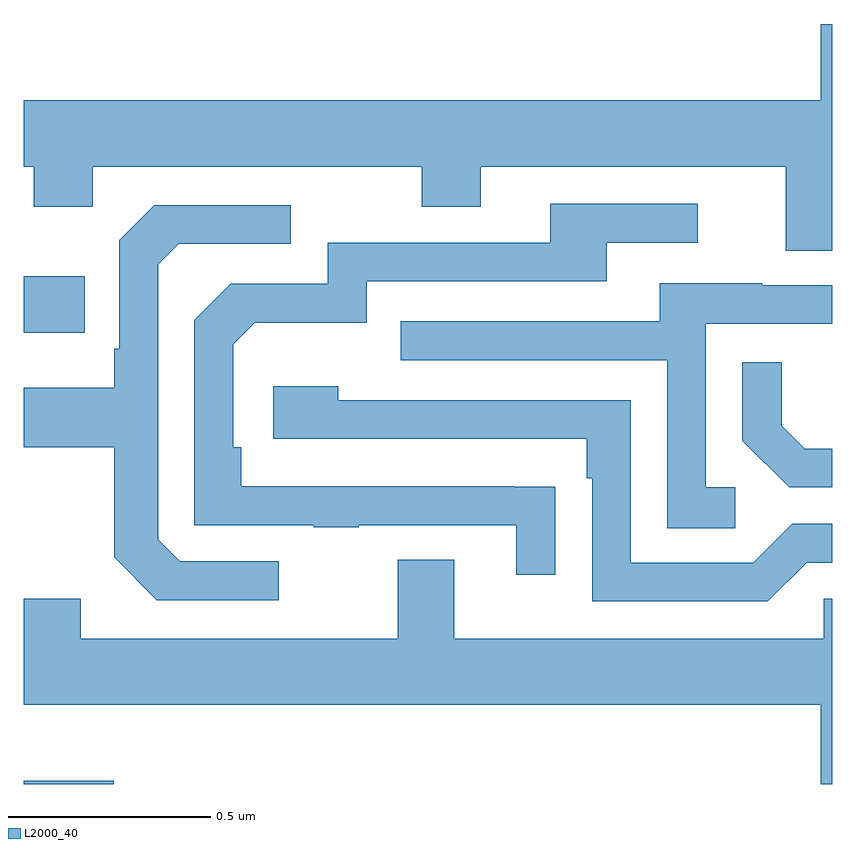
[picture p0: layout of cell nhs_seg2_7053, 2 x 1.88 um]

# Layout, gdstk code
import gdstk
lib = gdstk.Library(unit=1e-6, precision=1e-09)
def R(c, l, rs):  # rectangles x0, y0, x1, y1
    for r in rs: c.add(gdstk.rectangle(r[:2], r[2:], *l))
def P(c, l, *ps):  # polygons
    for p in ps: c.add(gdstk.Polygon(p, *l))
L2000_40 = (2000, 40)

nhs_seg2_7053 = lib.new_cell('nhs_seg2_7053')
R(nhs_seg2_7053, L2000_40, [(199,620.8,199.222,620.808), (199,621.917,199.151,622.057)])
P(nhs_seg2_7053, L2000_40, [(201,622.681),(200.972,622.681),(200.972,622.492),(199,622.492),(199,622.328),(199.024,622.328),(199.024,622.229),(199.17,622.229),(199.17,622.328),(199.984,622.328),(199.984,622.229),(200.131,622.229),(200.131,622.328),(200.885,622.328),(200.885,622.12),(201,622.12)],
  [(200.315,621.536),(200.213,621.536),(200.213,621.537),(199.538,621.537),(199.538,621.634),(199.518,621.634),(199.518,621.888),(199.571,621.941),(199.848,621.941),(199.848,622.044),(200.443,622.044),(200.443,622.14),(200.668,622.14),(200.668,622.236),(200.303,622.236),(200.303,622.14),(199.752,622.14),(199.752,622.038),(199.512,622.038),(199.422,621.948),(199.422,621.441),(199.717,621.441),(199.717,621.436),(199.829,621.436),(199.829,621.441),(200.219,621.441),(200.219,621.318),(200.315,621.318)],
  [(199.63,621.351),(199.386,621.351),(199.332,621.405),(199.332,622.086),(199.383,622.137),(199.66,622.137),(199.66,622.233),(199.323,622.233),(199.236,622.146),(199.236,621.877),(199.224,621.877),(199.224,621.781),(199,621.781),(199,621.634),(199.224,621.634),(199.224,621.361),(199.329,621.255),(199.63,621.255)],
  [(200.761,621.534),(200.688,621.534),(200.688,621.939),(201,621.939),(201,622.035),(200.827,622.035),(200.827,622.039),(200.573,622.039),(200.573,621.945),(199.933,621.945),(199.933,621.849),(200.592,621.849),(200.592,621.433),(200.761,621.433)],
  [(201,621.63),(200.932,621.63),(200.875,621.687),(200.875,621.844),(200.778,621.844),(200.778,621.65),(200.894,621.534),(201,621.534)],
  [(200.937,621.348),(201,621.348),(201,621.444),(200.901,621.444),(200.805,621.348),(200.502,621.348),(200.502,621.75),(199.778,621.75),(199.778,621.784),(199.617,621.784),(199.617,621.654),(200.393,621.654),(200.393,621.557),(200.406,621.557),(200.406,621.252),(200.841,621.252)],
  [(201,621.258),(200.979,621.258),(200.979,621.16),(200.065,621.16),(200.065,621.355),(199.925,621.355),(199.925,621.16),(199.141,621.16),(199.141,621.259),(199,621.259),(199,620.996),(200.972,620.996),(200.972,620.8),(201,620.8)])

lib.write_gds('nhs_seg2_7053.gds')
